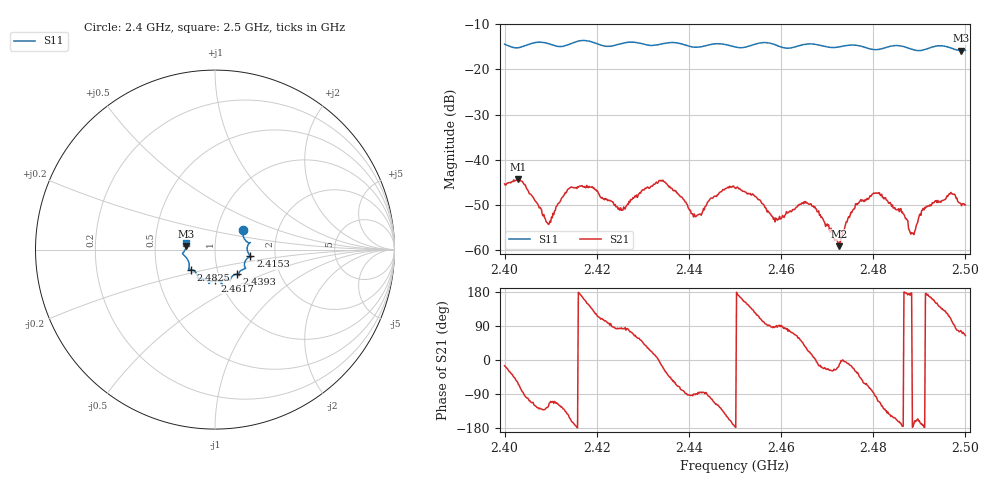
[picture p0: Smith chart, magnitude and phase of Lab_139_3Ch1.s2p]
# Hz S RI R 50
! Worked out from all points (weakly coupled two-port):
!   601 points, 2.4 GHz to 2.5 GHz, reference 50 ohm
!   highest |S21| = -44.23 dB at 2.403 GHz (marker M1); lowest = -59.0 dB at 2.4725 GHz (marker M2)
!   lowest |S11| = -15.9 dB at 2.499 GHz (marker M3), VSWR 1.38, Z = 36.2 + j1.31 ohm
!   |S11| at or under -10 dB: start of sweep to end of sweep
!   S12 and S22 are empty: the file has one direction only
!   S11 on the Smith chart (normalised r, x): 2.4 GHz: 1.33, +0.30; 2.4153 GHz: 1.49, -0.11; 2.4393 GHz: 1.23, -0.35; 2.4617 GHz: 0.94, -0.33; 2.4825 GHz: 0.75, -0.17; 2.5 GHz: 0.72, +0.05
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2.4e9  0.1559 0.109  0.00525 -0.00143  0 0  0 0
2.403e9  0.1632 0.0605  0.00261 -0.00556  0 0  0 0
2.4095e9  0.1897 0.0348  -0.00103 -0.00164  0 0  0 0
2.415333e9  0.1977 -0.0369  -0.00489 -0.000629  0 0  0 0
2.416667e9  0.2044 -0.0417  -0.0051 0.000958  0 0  0 0
2.425167e9  0.1662 -0.097  0.000351 0.00294  0 0  0 0
2.433333e9  0.1324 -0.1332  0.00567 0.000126  0 0  0 0
2.439333e9  0.1236 -0.1378  7.41e-05 -0.00343  0 0  0 0
2.441833e9  0.0996 -0.1453  -3.51e-05 -0.00247  0 0  0 0
2.45e9  0.0668 -0.1644  -0.00493 -0.000332  0 0  0 0
2.458833e9  0.0331 -0.1833  9.18e-05 0.00229  0 0  0 0
2.461667e9  0.000961 -0.1718  0.000474 0.0026  0 0  0 0
2.466667e9  -0.0337 -0.1885  0.00301 0.000778  0 0  0 0
2.4725e9  -0.0729 -0.1614  0.00106 -0.000339  0 0  0 0
2.476667e9  -0.0948 -0.1576  0.00275 -0.00185  0 0  0 0
2.4825e9  -0.1325 -0.1117  -0.00242 -0.00294  0 0  0 0
2.483333e9  -0.1399 -0.1107  -0.00262 -0.00205  0 0  0 0
2.4885e9  -0.1434 -0.0844  -0.00154 -6.45e-05  0 0  0 0
2.493167e9  -0.177 -0.0272  -0.00313 0.00125  0 0  0 0
2.497e9  -0.1714 -0.0094  -0.000987 0.00412  0 0  0 0
2.499e9  -0.1601 0.0177  0.000722 0.00323  0 0  0 0
2.5e9  -0.1593 0.0352  0.00138 0.00288  0 0  0 0
